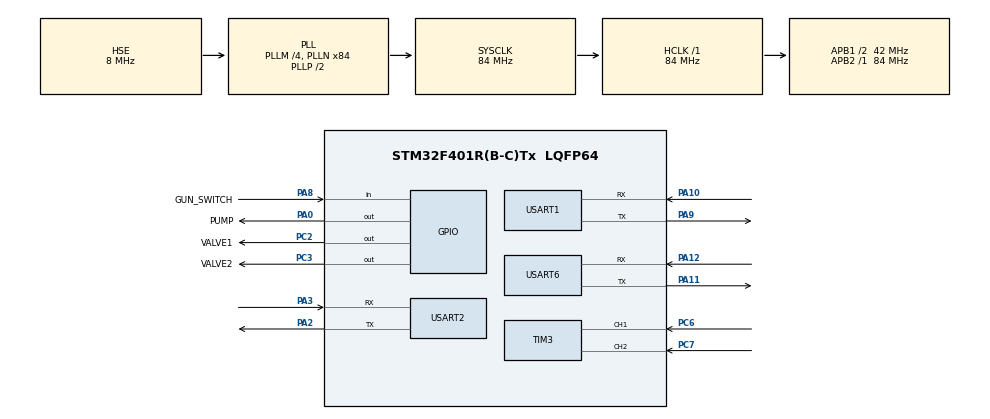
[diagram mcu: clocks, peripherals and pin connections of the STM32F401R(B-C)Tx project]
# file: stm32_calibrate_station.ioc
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ADC1.Channel-0\#ChannelRegularConversion=ADC_CHANNEL_VREFINT
ADC1.ContinuousConvMode=ENABLE
ADC1.NbrOfConversionFlag=1
ADC1.Rank-0\#ChannelRegularConversion=1
ADC1.SamplingTime-0\#ChannelRegularConversion=ADC_SAMPLETIME_480CYCLES
ADC1.master=1
Dma.ADC1.0.Direction=DMA_PERIPH_TO_MEMORY
Dma.ADC1.0.FIFOMode=DMA_FIFOMODE_DISABLE
Dma.ADC1.0.Instance=DMA2_Stream0
Dma.ADC1.0.MemDataAlignment=DMA_MDATAALIGN_HALFWORD
Dma.ADC1.0.MemInc=DMA_MINC_ENABLE
Dma.ADC1.0.Mode=DMA_CIRCULAR
Dma.ADC1.0.PeriphDataAlignment=DMA_PDATAALIGN_HALFWORD
Dma.ADC1.0.PeriphInc=DMA_PINC_DISABLE
Dma.ADC1.0.Priority=DMA_PRIORITY_LOW
Dma.Request0=ADC1
Mcu.Family=STM32F4
Mcu.Name=STM32F401R(B-C)Tx
Mcu.Package=LQFP64
NVIC.DMA2_Stream0_IRQn=true\:0\:0\:false\:false\:true\:false\:true\:true
NVIC.PriorityGroup=NVIC_PRIORITYGROUP_4
NVIC.TIM3_IRQn=true\:0\:0\:false\:false\:true\:true\:true\:true
NVIC.USART1_IRQn=true\:0\:0\:false\:false\:true\:true\:true\:true
NVIC.USART2_IRQn=true\:0\:0\:false\:false\:true\:true\:true\:true
NVIC.USART6_IRQn=true\:0\:0\:false\:false\:true\:true\:true\:true
PA0-WKUP.GPIO_Label=PUMP
PA0-WKUP.Signal=GPIO_Output
PA10.Mode=Asynchronous
PA10.Signal=USART1_RX
PA11.Mode=Asynchronous
PA11.Signal=USART6_TX
PA12.Mode=Asynchronous
PA12.Signal=USART6_RX
PA13.Mode=Serial_Wire
PA13.Signal=SYS_JTMS-SWDIO
PA14.Mode=Serial_Wire
PA14.Signal=SYS_JTCK-SWCLK
PA2.Mode=Asynchronous
PA2.Signal=USART2_TX
PA3.Mode=Asynchronous
PA3.Signal=USART2_RX
PA8.GPIO_Label=GUN_SWITCH
PA8.Signal=GPIO_Input
PA9.Mode=Asynchronous
PA9.Signal=USART1_TX
PC14-OSC32_IN.Mode=LSE-External-Oscillator
PC14-OSC32_IN.Signal=RCC_OSC32_IN
PC15-OSC32_OUT.Mode=LSE-External-Oscillator
PC15-OSC32_OUT.Signal=RCC_OSC32_OUT
PC2.GPIO_Label=VALVE1
PC2.Signal=GPIO_Output
PC3.GPIO_Label=VALVE2
PC3.Signal=GPIO_Output
PC6.Signal=S_TIM3_CH1
PC7.Signal=S_TIM3_CH2
PH0\ -\ OSC_IN.Mode=HSE-External-Oscillator
PH0\ -\ OSC_IN.Signal=RCC_OSC_IN
PH1\ -\ OSC_OUT.Mode=HSE-External-Oscillator
PH1\ -\ OSC_OUT.Signal=RCC_OSC_OUT
ProjectManager.HeapSize=0x200
ProjectManager.StackSize=0x400
ProjectManager.TargetToolchain=STM32CubeIDE
RCC.48MHZClocksFreq_Value=42000000
RCC.AHBFreq_Value=84000000
RCC.APB1CLKDivider=RCC_HCLK_DIV2
RCC.APB1Freq_Value=42000000
RCC.APB1TimFreq_Value=84000000
RCC.APB2Freq_Value=84000000
RCC.APB2TimFreq_Value=84000000
RCC.CortexFreq_Value=84000000
RCC.HCLKFreq_Value=84000000
RCC.HSE_VALUE=8000000
RCC.HSI_VALUE=16000000
RCC.PLLM=4
RCC.PLLN=84
RCC.PLLSourceVirtual=RCC_PLLSOURCE_HSE
RCC.SYSCLKFreq_VALUE=84000000
RCC.SYSCLKSource=RCC_SYSCLKSOURCE_PLLCLK
RCC.VCOOutputFreq_Value=168000000
SH.S_TIM3_CH1.0=TIM3_CH1,Encoder_Interface
SH.S_TIM3_CH2.0=TIM3_CH2,Encoder_Interface
USART1.VirtualMode=VM_ASYNC
USART2.VirtualMode=VM_ASYNC
USART6.VirtualMode=VM_ASYNC
VP_ADC1_Vref_Input.Mode=IN-Vrefint
VP_RTC_VS_RTC_Activate.Mode=RTC_Enabled
board=custom

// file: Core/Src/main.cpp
/* USER CODE BEGIN Header */
/**
  ******************************************************************************
  * @file           : main.c
  * @brief          : Main program body
  ******************************************************************************
  * @attention
  *
  * Copyright (c) 2024 STMicroelectronics.
  * All rights reserved.
  *
  * This software is licensed under terms that can be found in the LICENSE file
  * in the root directory of this software component.
  * If no LICENSE file comes with this software, it is provided AS-IS.
  *
  ******************************************************************************
  */
/* USER CODE END Header */
#include "main.h"
#include "adc.h"
#include "dma.h"
#include "rtc.h"
#include "tim.h"
#include "usart.h"
#include "gpio.h"

/* USER CODE BEGIN Includes */
#include "app.h"
#include "soul.h"
#include "bmacro.h"
#include "system.h"
#include "settings.h"
#include "gprotocol.h"
#include "STM32_adapter_BA_BLE.h"

#include "Timer.h"
#include "SoulGuard.h"
/* USER CODE END Includes */

/* USER CODE BEGIN PV */

static constexpr char MAIN_TAG[] = "MAIN";

SoulGuard<
	RestartWatchdog,
	StackWatchdog,
	SettingsWatchdog,
	PowerWatchdog
> soulGuard;

std::unordered_map<uint32_t, gtuple> table = {
	{GP_KEY_STR("dv_type"),   {reinterpret_cast<uint8_t*>(&settings.dv_type),   sizeof(settings.dv_type)}},
	{GP_KEY_STR("sw_id"),     {reinterpret_cast<uint8_t*>(&settings.sw_id),     sizeof(settings.sw_id)}},
	{GP_KEY_STR("fw_id"),     {reinterpret_cast<uint8_t*>(&settings.fw_id),     sizeof(settings.fw_id)}},
	{GP_KEY_STR("start"),     {reinterpret_cast<uint8_t*>(&app_info.start),     sizeof(app_info.start)}},
	{GP_KEY_STR("target_ml"), {reinterpret_cast<uint8_t*>(&app_info.target_ml), sizeof(app_info.target_ml)}},
	{GP_KEY_STR("level_adc"), {reinterpret_cast<uint8_t*>(&app_info.level_adc), sizeof(app_info.level_adc)}},
	{GP_KEY_STR("result_ml"), {reinterpret_cast<uint8_t*>(&app_info.result_ml), sizeof(app_info.result_ml)}},
	{GP_KEY_STR("status"),    {reinterpret_cast<uint8_t*>(&app_info.status),    sizeof(app_info.status)}},
	{GP_KEY_STR("sens_addr"), {reinterpret_cast<uint8_t*>(&app_info.sens_addr), sizeof(app_info.sens_addr)}},
};
gprotocol protocol(table);

utl::Timer gpTimer(GENERAL_TIMEOUT_MS);
bool gpHasPacket = false;
unsigned gpCounter = 0;
uint8_t gpVar = 0;
uint8_t gpBuf[sizeof(pack_t)] = {};

/* USER CODE END PV */

void SystemClock_Config(void);
/* USER CODE BEGIN PFP */

void error_loop();

/* USER CODE END PFP */

int main(void)
{
  /* USER CODE BEGIN 1 */
	system_pre_load();
  /* USER CODE END 1 */

  /* MCU Configuration--------------------------------------------------------*/

  /* Reset of all peripherals, Initializes the Flash interface and the Systick. */
  HAL_Init();

  /* USER CODE BEGIN Init */
  if (is_error(RCC_ERROR)) {
	  system_clock_hsi_config();
  } else {
  /* USER CODE END Init */

  /* Configure the system clock */
  SystemClock_Config();

  }

  /* Initialize all configured peripherals */
  MX_GPIO_Init();
  MX_DMA_Init();
  MX_USART2_UART_Init();
  MX_USART1_UART_Init();
  MX_TIM3_Init();
  MX_USART6_UART_Init();
  MX_ADC1_Init();
  MX_RTC_Init();

  /* Infinite loop */
  /* USER CODE BEGIN WHILE */
	set_status(LOADING);

	HAL_Delay(100);

    utl::Timer errTimer(40 * SECOND_MS);

	gprint("\n\n\n");
	printTagLog(MAIN_TAG, "The device is loading");

	SystemInfo();

	// Slave RS232 start
    HAL_UART_Receive_IT(&RS232_UART, &gpVar, 1);
    gpCounter++;

    // Gas sensor encoder
    HAL_TIM_Encoder_Start(&MD212_TIM, TIM_CHANNEL_ALL);

	app_init();

    errTimer.start();
	while (has_errors() || is_status(LOADING)) {
		soulGuard.defend();

    	if (!errTimer.wait()) {
			system_error_handler((SOUL_STATUS)get_first_error(), error_loop);
		}
	}

    system_post_load();

	printTagLog(MAIN_TAG, "The device is loaded successfully");

#ifdef DEBUG
	utl::Timer kFlopsTimer(10 * SECOND_MS);
	unsigned kFlopsCounter = 0;
	kFlopsTimer.start();

	static unsigned last_error = get_first_error();
#endif
	set_status(LOADED);
	errTimer.start();
	while (1)
	{
		soulGuard.defend();

#ifdef DEBUG
		kFlopsCounter++;
		if (!kFlopsTimer.wait()) {
			printTagLog(
				MAIN_TAG,
				"kFLOPS: %lu.%lu",
				kFlopsCounter / (10 * SECOND_MS),
				(kFlopsCounter / SECOND_MS) % 10
			);
			kFlopsCounter = 0;
			kFlopsTimer.start();
		}

		unsigned error = get_first_error();
		if (error && last_error != error) {
			printTagLog(MAIN_TAG, "New error: %u", error);
			last_error = error;
		}
#endif

		app_proccess();

		if (gpHasPacket) {
			protocol.slave_recieve(reinterpret_cast<pack_t*>(gpBuf));
			gpHasPacket = false;
		}

		if (!errTimer.wait()) {
			system_error_handler((SOUL_STATUS)get_first_error(), error_loop);
		}

		if (has_errors() || is_status(LOADING)) {
			continue;
		}

    /* USER CODE END WHILE */

    /* USER CODE BEGIN 3 */

		errTimer.start();
	}
  /* USER CODE END 3 */
}

void SystemClock_Config(void)
{
  RCC_OscInitTypeDef RCC_OscInitStruct = {};
  RCC_ClkInitTypeDef RCC_ClkInitStruct = {};

  /** Configure the main internal regulator output voltage
  */
  __HAL_RCC_PWR_CLK_ENABLE();
  __HAL_PWR_VOLTAGESCALING_CONFIG(PWR_REGULATOR_VOLTAGE_SCALE2);

  /** Initializes the RCC Oscillators according to the specified parameters
  * in the RCC_OscInitTypeDef structure.
  */
  RCC_OscInitStruct.OscillatorType = RCC_OSCILLATORTYPE_LSI|RCC_OSCILLATORTYPE_HSE;
  RCC_OscInitStruct.HSEState = RCC_HSE_ON;
  RCC_OscInitStruct.LSIState = RCC_LSI_ON;
  RCC_OscInitStruct.PLL.PLLState = RCC_PLL_ON;
  RCC_OscInitStruct.PLL.PLLSource = RCC_PLLSOURCE_HSE;
  RCC_OscInitStruct.PLL.PLLM = 4;
  RCC_OscInitStruct.PLL.PLLN = 84;
  RCC_OscInitStruct.PLL.PLLP = RCC_PLLP_DIV2;
  RCC_OscInitStruct.PLL.PLLQ = 4;
  if (HAL_RCC_OscConfig(&RCC_OscInitStruct) != HAL_OK)
  {
    Error_Handler();
  }

  /** Initializes the CPU, AHB and APB buses clocks
  */
  RCC_ClkInitStruct.ClockType = RCC_CLOCKTYPE_HCLK|RCC_CLOCKTYPE_SYSCLK
                              |RCC_CLOCKTYPE_PCLK1|RCC_CLOCKTYPE_PCLK2;
  RCC_ClkInitStruct.SYSCLKSource = RCC_SYSCLKSOURCE_PLLCLK;
  RCC_ClkInitStruct.AHBCLKDivider = RCC_SYSCLK_DIV1;
  RCC_ClkInitStruct.APB1CLKDivider = RCC_HCLK_DIV2;
  RCC_ClkInitStruct.APB2CLKDivider = RCC_HCLK_DIV1;

  if (HAL_RCC_ClockConfig(&RCC_ClkInitStruct, FLASH_LATENCY_2) != HAL_OK)
  {
    Error_Handler();
  }
}

/* USER CODE BEGIN 4 */

void HAL_UART_RxCpltCallback(UART_HandleTypeDef *huart)
{
    if (huart->Instance == RS232_UART.Instance) {
		if (!gpTimer.wait()) {
			gpCounter = 0;
			gpHasPacket = false;
			gpTimer.start();
		}

        if (!gpHasPacket) {
        	gpBuf[gpCounter++] = gpVar;
        }

        if (gpCounter >= sizeof(pack_t)) {
        	gpHasPacket = true;
        	gpCounter = 0;
        }

        gpTimer.start();
        HAL_UART_Receive_IT(&RS232_UART, &gpVar, 1);
    } else if (huart->Instance == RS485_UART.Instance) {
    	adapter_BA_BLE_rx_cplt_callback(&ba_ble);
    } else if (huart->Instance == BEDUG_UART.Instance) {
    	asm("nop");
    } else {
    	system_error_handler(INTERNAL_ERROR, error_loop);
    }
}

int _write(int, uint8_t *ptr, int len) {
	(void)ptr;
	(void)len;
#ifdef DEBUG
    HAL_UART_Transmit(&BEDUG_UART, (uint8_t *)ptr, static_cast<uint16_t>(len), GENERAL_TIMEOUT_MS);
    for (int DataIdx = 0; DataIdx < len; DataIdx++) {
        ITM_SendChar(*ptr++);
    }
    return len;
#endif
    return 0;
}

void error_loop()
{
	soulGuard.defend();
}

/* USER CODE END 4 */

void Error_Handler(void)
{
  /* USER CODE BEGIN Error_Handler_Debug */
    b_assert(__FILE__, __LINE__, "The error handler has been called");
	SOUL_STATUS err = has_errors() ? (SOUL_STATUS)get_first_error() : ERROR_HANDLER_CALLED;
	system_error_handler(err, error_loop);
  /* USER CODE END Error_Handler_Debug */
}

#ifdef  USE_FULL_ASSERT
/**
  * @brief  Reports the name of the source file and the source line number
  *         where the assert_param error has occurred.
  * @param  file: pointer to the source file name
  * @param  line: assert_param error line source number
  * @retval None
  */
void assert_failed(uint8_t *file, uint32_t line)
{
  /* USER CODE BEGIN 6 */
	b_assert((char*)file, line, "Wrong parameters value");
	SOUL_STATUS err = has_errors() ? (SOUL_STATUS)get_first_error() : ASSERT_ERROR;
	system_error_handler(err, error_loop);
  /* USER CODE END 6 */
}
#endif /* USE_FULL_ASSERT */
